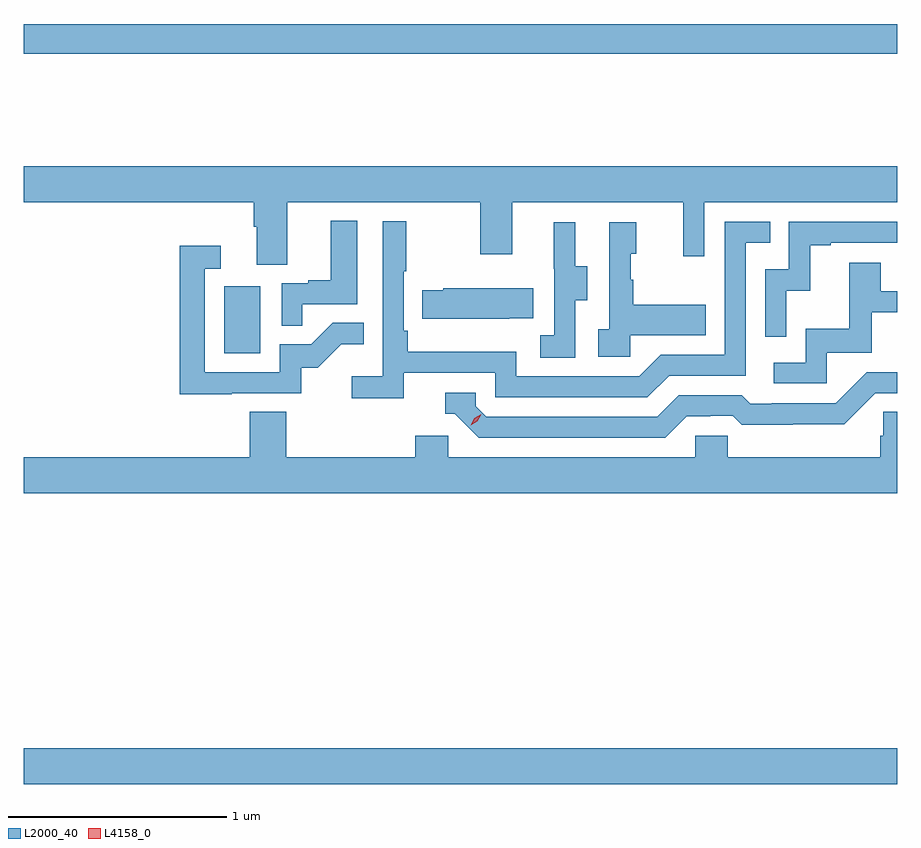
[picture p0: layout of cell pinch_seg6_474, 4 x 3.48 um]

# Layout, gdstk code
import gdstk
lib = gdstk.Library(unit=1e-6, precision=1e-09)
def R(c, l, rs):  # rectangles x0, y0, x1, y1
    for r in rs: c.add(gdstk.rectangle(r[:2], r[2:], *l))
def P(c, l, *ps):  # polygons
    for p in ps: c.add(gdstk.Polygon(p, *l))
L2000_40 = (2000, 40)
L4158_0 = (4158, 0)

pinch_seg6_474 = lib.new_cell('pinch_seg6_474')
R(pinch_seg6_474, L2000_40, [(874.579,934.016,878.579,934.18), (875.498,935.988,875.662,936.295), (874.579,937.36,878.579,937.496)])
P(pinch_seg6_474, L2000_40, [(875.785,936.68),(876.67,936.68),(876.67,936.441),(876.817,936.441),(876.817,936.68),(877.598,936.68),(877.598,936.432),(877.695,936.432),(877.695,936.68),(878.579,936.68),(878.579,936.844),(874.579,936.844),(874.579,936.68),(875.633,936.68),(875.633,936.568),(875.645,936.568),(875.645,936.394),(875.785,936.394)],
  [(875.855,936.213),(876.106,936.213),(876.106,936.595),(875.984,936.595),(875.984,936.322),(875.881,936.322),(875.881,936.309),(875.76,936.309),(875.76,936.115),(875.855,936.115)],
  [(876.32,935.898),(876.738,935.898),(876.738,935.787),(877.435,935.787),(877.534,935.886),(877.884,935.886),(877.884,936.495),(877.997,936.495),(877.997,936.591),(877.788,936.591),(877.788,935.982),(877.497,935.982),(877.398,935.883),(876.834,935.883),(876.834,935.995),(876.338,935.995),(876.338,936.091),(876.318,936.091),(876.318,936.364),(876.331,936.364),(876.331,936.592),(876.222,936.592),(876.222,935.884),(876.081,935.884),(876.081,935.782),(876.32,935.782)],
  [(878.07,936.275),(878.18,936.275),(878.18,936.483),(878.275,936.483),(878.275,936.495),(878.579,936.495),(878.579,936.591),(878.082,936.591),(878.082,936.372),(877.974,936.372),(877.974,936.063),(878.07,936.063)],
  [(877.104,936.232),(877.159,936.232),(877.159,936.387),(877.105,936.387),(877.105,936.589),(877.007,936.589),(877.007,936.375),(877.008,936.375),(877.008,936.071),(876.945,936.071),(876.945,935.968),(877.104,935.968)],
  [(877.356,936.071),(877.703,936.071),(877.703,936.211),(877.369,936.211),(877.369,936.326),(877.359,936.326),(877.359,936.444),(877.384,936.444),(877.384,936.589),(877.26,936.589),(877.26,936.098),(877.209,936.098),(877.209,935.973),(877.356,935.973)],
  [(875.531,935.805),(875.85,935.805),(875.85,935.922),(875.926,935.922),(876.033,936.029),(876.137,936.029),(876.137,936.128),(875.994,936.128),(875.896,936.03),(875.751,936.03),(875.751,935.901),(875.409,935.901),(875.409,936.375),(875.482,936.375),(875.482,936.481),(875.293,936.481),(875.293,935.8),(875.531,935.8)],
  [(878.256,935.991),(878.461,935.991),(878.461,936.177),(878.579,936.177),(878.579,936.273),(878.503,936.273),(878.503,936.403),(878.359,936.403),(878.359,936.1),(878.16,936.1),(878.16,935.946),(878.013,935.946),(878.013,935.85),(878.256,935.85)],
  [(876.803,936.149),(876.911,936.149),(876.911,936.286),(876.501,936.286),(876.501,936.276),(876.403,936.276),(876.403,936.146),(876.803,936.146)],
  [(877.615,935.7),(877.722,935.7),(877.722,935.703),(877.825,935.703),(877.867,935.661),(878.1,935.661),(878.1,935.663),(878.336,935.663),(878.478,935.805),(878.579,935.805),(878.579,935.901),(878.439,935.901),(878.298,935.76),(878.005,935.76),(878.005,935.757),(877.906,935.757),(877.867,935.796),(877.578,935.796),(877.479,935.697),(876.696,935.697),(876.648,935.745),(876.648,935.808),(876.509,935.808),(876.509,935.712),(876.552,935.712),(876.663,935.601),(877.516,935.601)],
  [(878.579,935.72),(878.515,935.72),(878.515,935.61),(878.501,935.61),(878.501,935.512),(877.803,935.512),(877.803,935.61),(877.653,935.61),(877.653,935.512),(876.522,935.512),(876.522,935.61),(876.371,935.61),(876.371,935.512),(875.78,935.512),(875.78,935.72),(875.615,935.72),(875.615,935.512),(874.579,935.512),(874.579,935.348),(878.579,935.348)])
P(pinch_seg6_474, L4158_0, [(876.625,935.659),(876.625,935.659),(876.642,935.691),(876.673,935.71),(876.673,935.71),(876.673,935.71),(876.656,935.678),(876.625,935.659)])

lib.write_gds('pinch_seg6_474.gds')
